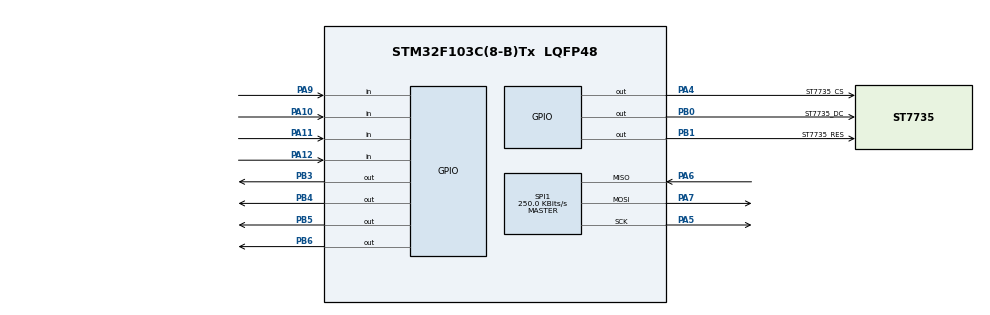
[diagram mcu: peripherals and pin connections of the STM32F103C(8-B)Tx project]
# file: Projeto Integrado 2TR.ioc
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Mcu.Family=STM32F1
Mcu.Name=STM32F103C(8-B)Tx
Mcu.Package=LQFP48
NVIC.PriorityGroup=NVIC_PRIORITYGROUP_4
PA10.GPIO_PuPd=GPIO_PULLUP
PA10.Signal=GPIO_Input
PA11.GPIO_PuPd=GPIO_PULLUP
PA11.Signal=GPIO_Input
PA12.GPIO_PuPd=GPIO_PULLUP
PA12.Signal=GPIO_Input
PA13.Mode=Serial_Wire
PA13.Signal=SYS_JTMS-SWDIO
PA14.Mode=Serial_Wire
PA14.Signal=SYS_JTCK-SWCLK
PA4.GPIO_Label=ST7735_CS
PA4.Signal=GPIO_Output
PA5.Mode=Full_Duplex_Master
PA5.Signal=SPI1_SCK
PA6.Mode=Full_Duplex_Master
PA6.Signal=SPI1_MISO
PA7.Mode=Full_Duplex_Master
PA7.Signal=SPI1_MOSI
PA9.GPIO_PuPd=GPIO_PULLUP
PA9.Signal=GPIO_Input
PB0.GPIO_Label=ST7735_DC
PB0.Signal=GPIO_Output
PB1.GPIO_Label=ST7735_RES
PB1.Signal=GPIO_Output
PB3.Signal=GPIO_Output
PB4.Signal=GPIO_Output
PB5.Signal=GPIO_Output
PB6.Signal=GPIO_Output
ProjectManager.HeapSize=0x200
ProjectManager.StackSize=0x400
ProjectManager.TargetToolchain=STM32CubeIDE
RCC.APB1Freq_Value=8000000
RCC.APB2Freq_Value=8000000
SPI1.BaudRatePrescaler=SPI_BAUDRATEPRESCALER_32
SPI1.CLKPhase=SPI_PHASE_1EDGE
SPI1.CalculateBaudRate=250.0 KBits/s
SPI1.Direction=SPI_DIRECTION_2LINES
SPI1.Mode=SPI_MODE_MASTER
SPI1.VirtualType=VM_MASTER
board=custom

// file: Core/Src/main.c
/* USER CODE BEGIN Header */
/**
  ******************************************************************************
  * @file           : main.c
  * @brief          : Main program body
  ******************************************************************************
  * @attention
  *
  * <h2><center>&copy; Copyright (c) 2024 STMicroelectronics.
  * All rights reserved.</center></h2>
  *
  * This software component is licensed by ST under BSD 3-Clause license,
  * the "License"; You may not use this file except in compliance with the
  * License. You may obtain a copy of the License at:
  *                        opensource.org/licenses/BSD-3-Clause
  *
  ******************************************************************************
  */
/* USER CODE END Header */
#include "main.h"

/* USER CODE BEGIN Includes */
#include"ST7735\ST7735.h"

/* USER CODE END Includes */

/* USER CODE BEGIN PD */
#define BOTAO9 HAL_GPIO_ReadPin(GPIOA,GPIO_PIN_9)
#define BOTAO10 HAL_GPIO_ReadPin(GPIOA,GPIO_PIN_10)
#define BOTAO11 HAL_GPIO_ReadPin(GPIOA,GPIO_PIN_11)
#define BOTAO12 HAL_GPIO_ReadPin(GPIOA,GPIO_PIN_12)

#define LED3_LIGA HAL_GPIO_WritePin(GPIOB,GPIO_PIN_3,1)
#define LED4_LIGA HAL_GPIO_WritePin(GPIOB,GPIO_PIN_4,1)
#define LED5_LIGA HAL_GPIO_WritePin(GPIOB,GPIO_PIN_5,1)
#define LED6_LIGA HAL_GPIO_WritePin(GPIOB,GPIO_PIN_6,1)

#define LED3_DESLIGA HAL_GPIO_WritePin(GPIOB,GPIO_PIN_3,0)
#define LED4_DESLIGA HAL_GPIO_WritePin(GPIOB,GPIO_PIN_4,0)
#define LED5_DESLIGA HAL_GPIO_WritePin(GPIOB,GPIO_PIN_5,0)
#define LED6_DESLIGA HAL_GPIO_WritePin(GPIOB,GPIO_PIN_6,0)

/* USER CODE END PD */

SPI_HandleTypeDef hspi1;

/* USER CODE BEGIN PV */
uint16_t cor=BLUE;
short camp[8][8];
short bomba = 10;
short casastotais = 36;
short casasvitoria = 0;
short casasabertas = 0;
short posxjogador=0;
short posyjogador=0;
short raio= 1;
short posx=0;
short posxtitulo=13;
short posxtela=30;
short posytitulo=0;
short posytela=30;
short posytela2=15;
short posytela3=45;
short posytela4=60;
short posy=0;
short bandeira;
int i, j = 0;
short cursorX = 1, cursorY = 1;
char buffer [10];

/* USER CODE END PV */

void SystemClock_Config(void);
static void MX_GPIO_Init(void);
static void MX_SPI1_Init(void);
/* USER CODE BEGIN PFP */
// short está sendo utilizado por causa do espaço ocupado que é menor do que int
short Menu( uint16_t cor, short bomba);
short Jogo(uint16_t cor);
short DificuldadeLed(uint16_t cor);
short Derrota_Vitoria(short casasabertas/*, uint16_t cor*/);
short MudarCor(void);
void cursorEsquerda(void);
void cursorDireita(void);
int sprintf(char *str, const char *format, ...);
/* USER CODE END PFP */

int main(void)
{

  /* MCU Configuration--------------------------------------------------------*/

  /* Reset of all peripherals, Initializes the Flash interface and the Systick. */
  HAL_Init();

  /* Configure the system clock */
  SystemClock_Config();

  /* Initialize all configured peripherals */
  MX_GPIO_Init();
  MX_SPI1_Init();
  /* USER CODE BEGIN 2 */
  ST7735_Init();
 // unsigned int C = sizeof(camp[0]); //C=Coluna
 // unsigned int L = sizeof(camp)/C; //L=Linha
 // srand(SysTick->VAL);
  /* USER CODE END 2 */

  /* Infinite loop */
  /* USER CODE BEGIN WHILE */
  while (1)
  {
	 // short cor=0;
	   Menu(cor,bomba);
	   ST7735_FillScreen(BLACK);
	   while (1){

	   }
    /* USER CODE END WHILE */

  }
}

void SystemClock_Config(void)
{
  RCC_OscInitTypeDef RCC_OscInitStruct = {0};
  RCC_ClkInitTypeDef RCC_ClkInitStruct = {0};

  /** Initializes the RCC Oscillators according to the specified parameters
  * in the RCC_OscInitTypeDef structure.
  */
  RCC_OscInitStruct.OscillatorType = RCC_OSCILLATORTYPE_HSI;
  RCC_OscInitStruct.HSIState = RCC_HSI_ON;
  RCC_OscInitStruct.HSICalibrationValue = RCC_HSICALIBRATION_DEFAULT;
  RCC_OscInitStruct.PLL.PLLState = RCC_PLL_NONE;
  if (HAL_RCC_OscConfig(&RCC_OscInitStruct) != HAL_OK)
  {
    Error_Handler();
  }
  /** Initializes the CPU, AHB and APB buses clocks
  */
  RCC_ClkInitStruct.ClockType = RCC_CLOCKTYPE_HCLK|RCC_CLOCKTYPE_SYSCLK
                              |RCC_CLOCKTYPE_PCLK1|RCC_CLOCKTYPE_PCLK2;
  RCC_ClkInitStruct.SYSCLKSource = RCC_SYSCLKSOURCE_HSI;
  RCC_ClkInitStruct.AHBCLKDivider = RCC_SYSCLK_DIV1;
  RCC_ClkInitStruct.APB1CLKDivider = RCC_HCLK_DIV1;
  RCC_ClkInitStruct.APB2CLKDivider = RCC_HCLK_DIV1;

  if (HAL_RCC_ClockConfig(&RCC_ClkInitStruct, FLASH_LATENCY_0) != HAL_OK)
  {
    Error_Handler();
  }
}

static void MX_SPI1_Init(void)
{

  /* SPI1 parameter configuration*/
  hspi1.Instance = SPI1;
  hspi1.Init.Mode = SPI_MODE_MASTER;
  hspi1.Init.Direction = SPI_DIRECTION_2LINES;
  hspi1.Init.DataSize = SPI_DATASIZE_8BIT;
  hspi1.Init.CLKPolarity = SPI_POLARITY_LOW;
  hspi1.Init.CLKPhase = SPI_PHASE_1EDGE;
  hspi1.Init.NSS = SPI_NSS_SOFT;
  hspi1.Init.BaudRatePrescaler = SPI_BAUDRATEPRESCALER_32;
  hspi1.Init.FirstBit = SPI_FIRSTBIT_MSB;
  hspi1.Init.TIMode = SPI_TIMODE_DISABLE;
  hspi1.Init.CRCCalculation = SPI_CRCCALCULATION_DISABLE;
  hspi1.Init.CRCPolynomial = 10;
  if (HAL_SPI_Init(&hspi1) != HAL_OK)
  {
    Error_Handler();
  }

}

static void MX_GPIO_Init(void)
{
  GPIO_InitTypeDef GPIO_InitStruct = {0};

  /* GPIO Ports Clock Enable */
  __HAL_RCC_GPIOA_CLK_ENABLE();
  __HAL_RCC_GPIOB_CLK_ENABLE();

  /*Configure GPIO pin Output Level */
  HAL_GPIO_WritePin(ST7735_CS_GPIO_Port, ST7735_CS_Pin, GPIO_PIN_RESET);

  /*Configure GPIO pin Output Level */
  HAL_GPIO_WritePin(GPIOB, ST7735_DC_Pin|ST7735_RES_Pin|GPIO_PIN_3|GPIO_PIN_4
                          |GPIO_PIN_5|GPIO_PIN_6, GPIO_PIN_RESET);

  /*Configure GPIO pin : ST7735_CS_Pin */
  GPIO_InitStruct.Pin = ST7735_CS_Pin;
  GPIO_InitStruct.Mode = GPIO_MODE_OUTPUT_PP;
  GPIO_InitStruct.Pull = GPIO_NOPULL;
  GPIO_InitStruct.Speed = GPIO_SPEED_FREQ_LOW;
  HAL_GPIO_Init(ST7735_CS_GPIO_Port, &GPIO_InitStruct);

  /*Configure GPIO pins : ST7735_DC_Pin ST7735_RES_Pin PB3 PB4
                           PB5 PB6 */
  GPIO_InitStruct.Pin = ST7735_DC_Pin|ST7735_RES_Pin|GPIO_PIN_3|GPIO_PIN_4
                          |GPIO_PIN_5|GPIO_PIN_6;
  GPIO_InitStruct.Mode = GPIO_MODE_OUTPUT_PP;
  GPIO_InitStruct.Pull = GPIO_NOPULL;
  GPIO_InitStruct.Speed = GPIO_SPEED_FREQ_LOW;
  HAL_GPIO_Init(GPIOB, &GPIO_InitStruct);

  /*Configure GPIO pins : PA9 PA10 PA11 PA12 */
  GPIO_InitStruct.Pin = GPIO_PIN_9|GPIO_PIN_10|GPIO_PIN_11|GPIO_PIN_12;
  GPIO_InitStruct.Mode = GPIO_MODE_INPUT;
  GPIO_InitStruct.Pull = GPIO_PULLUP;
  HAL_GPIO_Init(GPIOA, &GPIO_InitStruct);

}

/* USER CODE BEGIN 4 */
short Menu( uint16_t cor,short bomba){
	ST7735_FillScreen(cor);
	int escolha=0;
	ST7735_WriteString(posxtitulo, posytitulo,"Campo Minado",Font_11x18, BLACK, cor );
	ST7735_WriteString(posxtela, posytela,"P9-Jogar!",Font_7x10, BLACK, cor );
	ST7735_WriteString(posxtela, posytela3,"P10-Dificuldade:",Font_7x10, BLACK, cor );
	ST7735_WriteString(posxtela, posytela4,"P11-Cores:",Font_7x10, BLACK, cor );

	while(escolha==0){
    	if (BOTAO9 == 0 && BOTAO10 == 1 && BOTAO11 == 1 && BOTAO12 == 1) {
    	escolha=1;
    	}
    	else if (BOTAO9 == 1 && BOTAO10 == 0 && BOTAO11 == 1 && BOTAO12 == 1) {
    	    	    escolha=2;
    	    	  }

	else if (BOTAO9 == 1 && BOTAO10 == 1 && BOTAO11 == 0 && BOTAO12 == 1) {
	    	    	    escolha=3;
	    	    	  }
		}

	switch (escolha) {
			case 1:
		    Jogo(cor);
			break;

			case 2:
			DificuldadeLed(cor);
			break;

			case 3:
			MudarCor();
			Menu(cor,bomba);
			break;
		}

	}

short Jogo(uint16_t cor){

	distribuirBombas(bomba);
	int verificarbotao=0;
	ST7735_FillScreen(cor);
	ST7735_WriteString(posxtitulo, posytitulo, "Jogabilidade",Font_11x18, BLACK, cor );
	ST7735_WriteString(7, posytela, "P10- colocar Bandeiras",Font_7x10, BLACK, cor );
	ST7735_WriteString(23, posytela3 + 10, "Pr. qualquer botao",Font_7x10, BLACK, cor );
	while (BOTAO9!=0 && BOTAO10!=0 && BOTAO11!=0 && BOTAO12!=0) {
	}
	ST7735_FillScreen(cor);
	ST7735_FillRectangleFast(0, 0, 80, 80, WHITE);
	ST7735_WriteString(90, posytela2, "Bandeiras",Font_7x10, BLACK, cor );
	atualizarBandeiras();
	for (i = 0; i <= 8; i++) {
		ST7735_DrawLine((i*10), 0, (i*10), 80, BLACK);
		ST7735_DrawLine(0, (i*10), 80, (i*10), BLACK);
	}
	ST7735_WriteString(2, 2, "X" , Font_7x10 , BLACK , WHITE);
	//Tabuleiro: -1:Bomba; 0:Vazio n explorado; 1:Explorado; 2:Bandeira
	while (verificarbotao==0){
		if (BOTAO9==0) {
			ST7735_WriteString(2 + (cursorX - 1) * 10, 2 + (cursorY - 1) * 10, " " , Font_7x10 , BLACK , WHITE);
			consertaTabuleiro ();
			cursorEsquerda();
			ST7735_WriteString(2 + (cursorX - 1) * 10, 2 + (cursorY - 1) * 10, "X" , Font_7x10 , BLACK , WHITE);
			consertaTabuleiro ();
		}
		else if (BOTAO11==0) {
			ST7735_WriteString(2 + (cursorX - 1) * 10, 2 + (cursorY - 1) * 10, " " , Font_7x10 , BLACK , WHITE);
			consertaTabuleiro ();
			cursorDireita();
			ST7735_WriteString(2 + (cursorX - 1) * 10, 2 + (cursorY - 1) * 10, "X" , Font_7x10 , BLACK , WHITE);
			consertaTabuleiro ();
		}
		else if (BOTAO12==0) {
			if (bomba > 0)
			Bandeira();
		}
		else if (BOTAO10==0) {
			Descoberta();
			HAL_Delay(700);
		}

	}

}
short MudarCor()
{
	ST7735_FillScreen(cor);
		short escolhacor=0;
		ST7735_WriteString(posxtitulo, posytitulo, "Tabela de cores",Font_7x10, BLACK, cor );
		ST7735_WriteString(posxtela, posytela2, "P9-Verde",Font_7x10, BLACK, cor );
		ST7735_WriteString(posxtela, posytela, "PA10-Magenta",Font_7x10, BLACK, cor );
		ST7735_WriteString(posytela, posytela3, "P11-Azul",Font_7x10, BLACK, cor );
		ST7735_WriteString(posxtela, posytela4, "P12-Voltar",Font_7x10, BLACK, cor );

		while(escolhacor==0){

			if (BOTAO9 == 0 && BOTAO10 == 1 && BOTAO11 == 1 && BOTAO12 == 1) {
				cor=GREEN;
				ST7735_FillScreenFast(cor);
				ST7735_WriteString(posxtitulo, posytitulo, "Tabela de cores",Font_7x10, BLACK, cor );
				ST7735_WriteString(posxtela, posytela2, "P9-Verde",Font_7x10, BLACK, cor );
				ST7735_WriteString(posxtela, posytela, "PA10-Magenta",Font_7x10, BLACK, cor );
				ST7735_WriteString(posxtela, posytela3, "P11-Azul",Font_7x10, BLACK, cor );
				ST7735_WriteString(posxtela, posytela4, "P12-Voltar",Font_7x10, BLACK, cor );

			    	}
			    	else if (BOTAO9 == 1 && BOTAO10 == 0 && BOTAO11 == 1 && BOTAO12 == 1) {
			    	    cor=MAGENTA;
			    	    ST7735_FillScreenFast(cor);
			    	    ST7735_WriteString(posxtitulo, posytitulo, "Tabela de cores",Font_7x10, BLACK, cor );
						ST7735_WriteString(posxtela, posytela2, "P9-Verde",Font_7x10, BLACK, cor );
		  				ST7735_WriteString(posxtela, posytela, "PA10-Magenta",Font_7x10, BLACK, cor );
 	    				ST7735_WriteString(posxtela, posytela3, "P11-Azul",Font_7x10, BLACK, cor );
	    				ST7735_WriteString(posxtela, posytela4, "P12-Voltar",Font_7x10, BLACK, cor );
			    	    	  }

				else if (BOTAO9 == 1 && BOTAO10 == 1 && BOTAO11 == 0 && BOTAO12 == 1) {
					cor=BLUE;
					ST7735_FillScreenFast(cor);
					ST7735_WriteString(posxtitulo,posytitulo, "Tabela de cores",Font_7x10, BLACK, cor );
					ST7735_WriteString(posxtela, posytela2, "P9-Verde",Font_7x10, BLACK, cor );
			  		ST7735_WriteString(posxtela, posxtela, "PA10-Magenta",Font_7x10, BLACK, cor );
					ST7735_WriteString(posxtela, posytela3, "P11-Azul",Font_7x10, BLACK, cor );
					ST7735_WriteString(posxtela, posytela4, "P12-Voltar",Font_7x10, BLACK, cor );
				    	    	  }
				else if(BOTAO9 == 1 && BOTAO10 == 1 && BOTAO11 == 1 && BOTAO12 == 0){
					Menu(cor,bomba);
				}
		}

}
short DificuldadeLed(uint16_t cor){
	int escolhadificuldade=0;

	ST7735_FillScreenFast(cor);
	ST7735_WriteString(posxtitulo, posytitulo, "Escolha o nivel",Font_7x10, BLACK, cor );
	ST7735_WriteString(posxtela, posytela2, "P9-Facil",Font_7x10, BLACK, cor );
	ST7735_WriteString(posxtela, posytela, "PA10-Medio",Font_7x10, BLACK, cor );
	ST7735_WriteString(posxtela, posytela3, "P11-Dificil",Font_7x10, BLACK, cor );
	ST7735_WriteString(posxtela, posytela4, "P12-Voltar",Font_7x10, BLACK, cor );

	while(escolhadificuldade==0){
	if(BOTAO9==0){
	LED6_LIGA;
	bomba=7;
}
	else if(BOTAO10==0){
		LED6_LIGA;
		LED5_LIGA;
	}
	else if(BOTAO11==0){
	LED6_LIGA;
	LED5_LIGA;
	LED4_LIGA;
	bomba=15;
	}
	else if(BOTAO12==0){
		LED6_DESLIGA;
		LED5_DESLIGA;
		LED4_DESLIGA;
		escolhadificuldade=1;
		Menu(cor,bomba);

	}

}
}
short Derrota_Vitoria(short result/*casasabertas, uint16_t cor */){
		//casasvitoria=casastotais-bomba;
		if(/*casasabertas==casasvitoria*/ result == 1){
			ST7735_FillScreenFast(GREEN);
			ST7735_WriteString(posxtitulo, posytitulo, "Parabens!", Font_11x18, BLACK, GREEN);
		/*	ST7735_WriteString(posxtela, posytela, "Deseja Continuar?", Font_7x10, BLACK, cor);
			ST7735_WriteString(posxtela, posytela3, "P9->Sim", Font_7x10, BLACK, cor);
			ST7735_WriteString(posxtela, posytela4, "P12->Nao", Font_7x10, BLACK, cor);
			if(BOTAO9==0){
							Jogo(cor);
						}
						else if(BOTAO12==0){
							return 0;
						}*/

		}
		else {
			ST7735_FillScreenFast(RED);
			ST7735_WriteString(posxtitulo, posytitulo, "Voce Perdeu", Font_11x18, BLACK, RED);
		/*	ST7735_WriteString(posxtela, posytela2, "Deseja Continuar?", Font_7x10, BLACK, cor);
			ST7735_WriteString(posxtela, posytela3, "P9->Sim", Font_7x10, BLACK, cor);
			ST7735_WriteString(posxtela, posytela4, "P12->Nao", Font_7x10, BLACK, cor);
			if(BOTAO9==0){
				Jogo(cor);
			}
			else if(BOTAO12==0){
				return 0;
			}

*/
		}
	while (1) {}
	}

void Descoberta() {
	if (camp[cursorX - 1][cursorY - 1] == -1) {
		Derrota_Vitoria(0);
	} else {
		camp[cursorX - 1][cursorY - 1] = 1;
		ST7735_WriteString(2 + (cursorX - 1) * 10, 2 + (cursorY - 1) * 10, "O" , Font_7x10 , BLACK , WHITE);
		consertaTabuleiro ();

		cursorEsquerda();
		ST7735_WriteString(2 + (cursorX - 1) * 10, 2 + (cursorY - 1) * 10, "X" , Font_7x10 , BLACK , WHITE);
		consertaTabuleiro ();

		for(i = 0; i < 8; i++) {
			for(j = 0; j < 8; j++) {
				if ((camp[i][j] == 0)||(camp[i][j] == -1)) {
					return;
				}
			}
		}
		Derrota_Vitoria(1);
	}
}

void Bandeira(void){
	camp[cursorX - 1][cursorY - 1] = 2;
	bomba--;

	ST7735_WriteString(2 + (cursorX - 1) * 10, 2 + (cursorY - 1) * 10, "B" , Font_7x10 , BLACK , WHITE);
	consertaTabuleiro ();

	cursorEsquerda();
	ST7735_WriteString(2 + (cursorX - 1) * 10, 2 + (cursorY - 1) * 10, "X" , Font_7x10 , BLACK , WHITE);
	consertaTabuleiro ();

	atualizarBandeiras();
	HAL_Delay(700);
}

void atualizarBandeiras() {
	sprintf(buffer, "%d ", bomba);
	ST7735_WriteString(110, 40, buffer,Font_11x18, BLACK, cor );
}
void cursorDireita () {
	for(;;) {
		cursorX++;
		if (cursorX == 9 && cursorY == 8) {
			cursorX = 1;
			cursorY = 1;
		} else if (cursorX == 9) {
			cursorX = 1;
			cursorY++;
		}

		if (camp[cursorX - 1][cursorY - 1] != 1 && camp[cursorX - 1][cursorY - 1] != 2) {
			return;
		}
	}
}
void cursorEsquerda () {
	for(i = 0; i<36; i++) {
		cursorX--;
		if (cursorX == 0 && cursorY == 1) {
			cursorX = 8;
			cursorY = 8;
		} else if (cursorX == 0) {
			cursorX = 8;
			cursorY--;
		}

		if (camp[cursorX - 1][cursorY - 1] != 1 && camp[cursorX - 1][cursorY - 1] != 2) {
					return;
		}
	}
}
void consertaTabuleiro () {
			ST7735_DrawLine((cursorX*10), 0, (cursorX*10), 80, BLACK);
			ST7735_DrawLine(0, (cursorY*10), 80, (cursorY*10), BLACK);
}

void distribuirBombas(int nBombas) {
	for(;;) {
		for(i = 0; i < 8; i++) {
			for(j = 0; j < 8; j++) {
				short valor = (rand() % 2) - 1;
				nBombas+= valor;
				camp[i][j] = valor;
				if (nBombas == 0)
					return;
			}
		}
	}
}
/* USER CODE END 4 */

void Error_Handler(void)
{
  __disable_irq();
  while (1)
  {
  }
}

/************************ (C) COPYRIGHT STMicroelectronics *****END OF FILE****/
